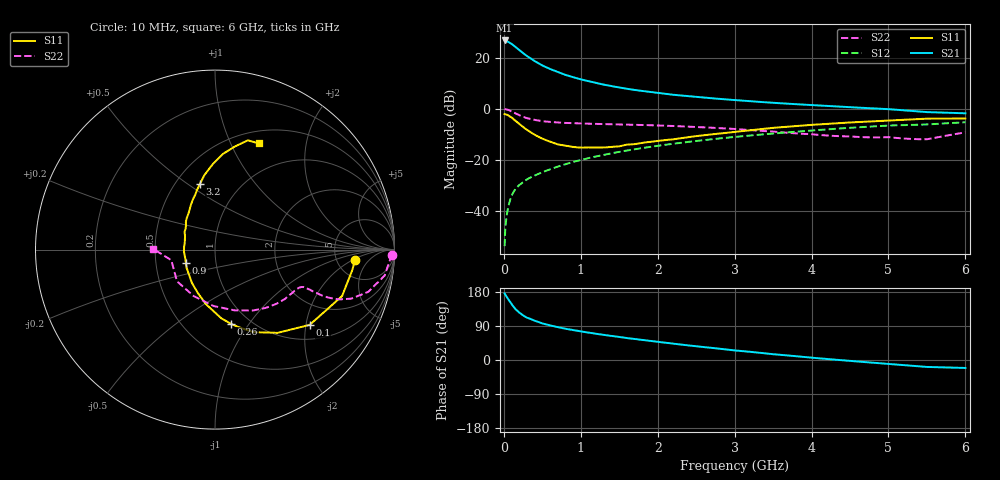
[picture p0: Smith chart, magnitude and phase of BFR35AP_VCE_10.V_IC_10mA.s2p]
! Infineon Technologies  Discrete & RF Semiconductors
! BFR35AP
! VCE =  10. V,  IC =  10 mA
! Common Emitter S-Parameters:  Nov 2015
# GHz  S  MA  R  50
!  f  S11  S21  S12  S22
! GHz  MAG  ANG  MAG  ANG  MAG  ANG  MAG  ANG
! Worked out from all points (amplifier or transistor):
!   210 points, 10 MHz to 6 GHz, reference 50 ohm
!   highest |S21| = 26.8 dB at 10 MHz (marker M1)
!   |S21| within 3 dB of that: start of sweep to 170.3 MHz
!   unconditionally stable (mu >= 1): 652.4 MHz to 2.789 GHz
!   at 185 MHz: K = 0.52, MSG = 26.9 dB, |S12| = -30.4 dB
!   at 1.52 GHz: K = 1.09, MAG = 10.7 dB, |S12| = -16.9 dB
!   at 6 GHz: K = 0.88, MSG = 1.8 dB, |S12| = -5.3 dB
!   S11 on the Smith chart (normalised r, x): 10 MHz: 7.51, -2.21; 100 MHz: 1.37, -2.10; 260 MHz: 0.82, -0.83; 900 MHz: 0.71, -0.11; 3.2 GHz: 0.66, +0.56; 6 GHz: 0.64, +1.28
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0.01  0.7819 -4.2  21.77 175.7  0.002 89.3  0.9868 -1.6
0.02  0.7737 -8.4  21.57 172.0  0.0046 83.5  0.9754 -3.6
0.05  0.7537 -20.1  20.8 162.3  0.0104 79.3  0.9562 -8.7
0.1  0.6737 -38.5  18.79 147.1  0.0195 73.0  0.8858 -15.4
0.15  0.5801 -53.1  16.34 134.2  0.0265 66.8  0.8071 -19.8
0.2  0.5056 -65.4  14.17 125.2  0.0316 64.3  0.7442 -21.9
0.24  0.4471 -73.8  12.66 119.2  0.0351 63.1  0.7012 -22.7
0.26  0.4234 -77.8  11.99 116.5  0.037 62.9  0.6825 -23.0
0.3  0.3839 -84.8  10.79 111.7  0.0408 63.1  0.6504 -23.2
0.4  0.3076 -99.6  8.572 103.6  0.0487 63.3  0.6002 -23.1
0.5  0.2579 -112.2  7.039 96.5  0.0562 64.6  0.5675 -22.9
0.6  0.2253 -124.9  6.004 91.2  0.0646 64.8  0.5476 -22.8
0.7  0.1994 -136.9  5.229 86.5  0.0728 65.9  0.5348 -22.9
0.9  0.1774 -155.9  4.125 78.8  0.09 65.8  0.5174 -24.0
1.02  0.1718 -169.0  3.693 74.8  0.0998 65.7  0.511 -24.9
1.4  0.1783 160.8  2.761 63.5  0.1327 64.6  0.4941 -29.1
2.02  0.235 132.3  2.013 47.5  0.1882 60.4  0.4664 -38.2
3.1  0.363 104.5  1.435 23.5  0.2878 50.2  0.3888 -60.7
3.2  0.3767 102.7  1.399 21.6  0.2969 49.0  0.379 -63.4
4.1  0.4908 89.8  1.152 4.4  0.3816 39.0  0.3049 -95.6
5.1  0.5932 78.0  0.951 -12.0  0.4694 25.3  0.2665 -144.9
6  0.6399 67.6  0.81 -21.0  0.5406 14.7  0.3429 179.5
